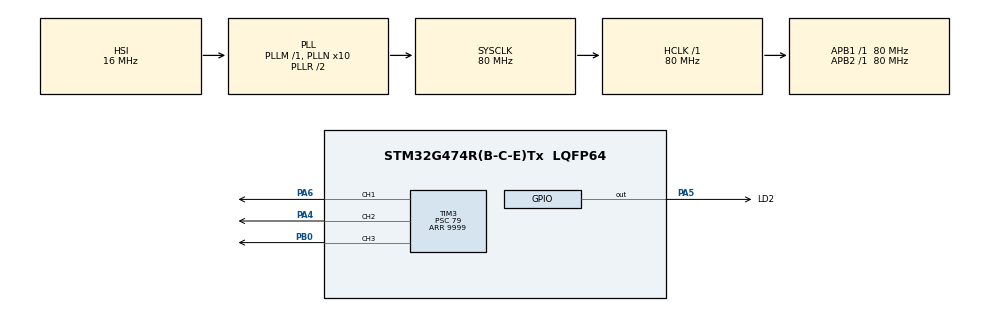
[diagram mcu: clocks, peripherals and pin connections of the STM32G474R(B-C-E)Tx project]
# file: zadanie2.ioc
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Mcu.Family=STM32G4
Mcu.Name=STM32G474R(B-C-E)Tx
Mcu.Package=LQFP64
NVIC.PriorityGroup=NVIC_PRIORITYGROUP_4
NVIC.TIM3_IRQn=true\:10\:0\:true\:false\:true\:true\:true\:true
PA13.Mode=Serial_Wire
PA13.Signal=SYS_JTMS-SWDIO
PA14.Mode=Serial_Wire
PA14.Signal=SYS_JTCK-SWCLK
PA4.Signal=S_TIM3_CH2
PA5.GPIO_Label=LD2
PA5.Signal=GPIO_Output
PA6.Signal=S_TIM3_CH1
PB0.Signal=S_TIM3_CH3
ProjectManager.HeapSize=0x200
ProjectManager.StackSize=0x400
ProjectManager.TargetToolchain=STM32CubeIDE
RCC.ADC12Freq_Value=80000000
RCC.ADC345Freq_Value=80000000
RCC.AHBFreq_Value=80000000
RCC.APB1Freq_Value=80000000
RCC.APB1TimFreq_Value=80000000
RCC.APB2Freq_Value=80000000
RCC.APB2TimFreq_Value=80000000
RCC.CortexFreq_Value=80000000
RCC.EXTERNAL_CLOCK_VALUE=12288000
RCC.HCLKFreq_Value=80000000
RCC.HSE_VALUE=8000000
RCC.HSI48_VALUE=48000000
RCC.HSI_VALUE=16000000
RCC.LSE_VALUE=32768
RCC.PLLN=10
RCC.SYSCLKFreq_VALUE=80000000
RCC.SYSCLKSource=RCC_SYSCLKSOURCE_PLLCLK
RCC.USBFreq_Value=80000000
RCC.VCOOutputFreq_Value=160000000
SH.S_TIM3_CH1.0=TIM3_CH1,PWM Generation1 CH1
SH.S_TIM3_CH2.0=TIM3_CH2,PWM Generation2 CH2
SH.S_TIM3_CH3.0=TIM3_CH3,PWM Generation3 CH3
TIM3.Channel-PWM\ Generation1\ CH1=TIM_CHANNEL_1
TIM3.Channel-PWM\ Generation2\ CH2=TIM_CHANNEL_2
TIM3.Channel-PWM\ Generation3\ CH3=TIM_CHANNEL_3
TIM3.OCPolarity_1=TIM_OCPOLARITY_LOW
TIM3.OCPolarity_2=TIM_OCPOLARITY_LOW
TIM3.OCPolarity_3=TIM_OCPOLARITY_LOW
TIM3.PeriodNoDither=9999
TIM3.Prescaler=79
TIM3.PulseNoDither_1=50
TIM3.PulseNoDither_2=400
TIM3.PulseNoDither_3=2000
VP_TIM3_VS_ClockSourceINT.Mode=Internal
board=custom

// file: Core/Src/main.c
/* USER CODE BEGIN Header */
/**
  ******************************************************************************
  * @file           : main.c
  * @brief          : Main program body
  ******************************************************************************
  * @attention
  *
  * Copyright (c) 2023 STMicroelectronics.
  * All rights reserved.
  *
  * This software is licensed under terms that can be found in the LICENSE file
  * in the root directory of this software component.
  * If no LICENSE file comes with this software, it is provided AS-IS.
  *
  ******************************************************************************
  */
/* USER CODE END Header */
#include "main.h"

/* USER CODE BEGIN Includes */
#include <math.h>
/* USER CODE END Includes */

TIM_HandleTypeDef htim3;

void SystemClock_Config(void);
static void MX_GPIO_Init(void);
static void MX_TIM3_Init(void);

/* USER CODE BEGIN 0 */
float calc_pwm(float val)						//Linearyzacja dzialania ukladu
{
    const float k = 0.13f;
    const float x0 = 70.0f;
    return 10000.0f / (1.0f + exp(-k * (val - x0)));
}
void HAL_TIM_PeriodElapsedCallback(TIM_HandleTypeDef *htim) 		//Obsluga przerwan
{
  if (htim == &htim3) {
    HAL_GPIO_TogglePin(LD2_GPIO_Port, LD2_Pin);
  }
}
/* USER CODE END 0 */

int main(void)
{

  /* MCU Configuration--------------------------------------------------------*/

  /* Reset of all peripherals, Initializes the Flash interface and the Systick. */
  HAL_Init();

  /* Configure the system clock */
  SystemClock_Config();

  /* Initialize all configured peripherals */
  MX_GPIO_Init();
  MX_TIM3_Init();
  /* USER CODE BEGIN 2 */
  HAL_TIM_Base_Start_IT(&htim3);
  HAL_TIM_PWM_Start(&htim3, TIM_CHANNEL_1);
  HAL_TIM_PWM_Start(&htim3, TIM_CHANNEL_2);
  HAL_TIM_PWM_Start(&htim3, TIM_CHANNEL_3);
  /* USER CODE END 2 */

  /* Infinite loop */
  /* USER CODE BEGIN WHILE */
  int counter = 0;
  uint32_t last_ms = HAL_GetTick();							//Pobranie czasu pracy mikrokontrolera

  while (1)
  {
	  uint32_t now = HAL_GetTick();
	  if (now - last_ms >= 2000)
	  {
		  float r = 500 * (sin(counter / 31.8f));				//Wykres sinusoidalny
	  	  float g = 500 * (counter / 200.0f - floor(counter / 200.0f));		//Wykres w ksztalcie pily
	  	  float b = 500 * (2.0 * fabs(fmod(counter * 0.005, 1.0) - 0.5));	//Wykres w ksztalcie trojkata

	  	  __HAL_TIM_SET_COMPARE(&htim3, TIM_CHANNEL_1, calc_pwm(r));		//Zmiana wartosci parametru Pulse
	  	  __HAL_TIM_SET_COMPARE(&htim3, TIM_CHANNEL_2, calc_pwm(g));
	  	  __HAL_TIM_SET_COMPARE(&htim3, TIM_CHANNEL_3, calc_pwm(b));

	  	  counter++;
    /* USER CODE END WHILE */

	  }
  }
}

void SystemClock_Config(void)
{
  RCC_OscInitTypeDef RCC_OscInitStruct = {0};
  RCC_ClkInitTypeDef RCC_ClkInitStruct = {0};

  /** Configure the main internal regulator output voltage
  */
  HAL_PWREx_ControlVoltageScaling(PWR_REGULATOR_VOLTAGE_SCALE1);

  /** Initializes the RCC Oscillators according to the specified parameters
  * in the RCC_OscInitTypeDef structure.
  */
  RCC_OscInitStruct.OscillatorType = RCC_OSCILLATORTYPE_HSI;
  RCC_OscInitStruct.HSIState = RCC_HSI_ON;
  RCC_OscInitStruct.HSICalibrationValue = RCC_HSICALIBRATION_DEFAULT;
  RCC_OscInitStruct.PLL.PLLState = RCC_PLL_ON;
  RCC_OscInitStruct.PLL.PLLSource = RCC_PLLSOURCE_HSI;
  RCC_OscInitStruct.PLL.PLLM = RCC_PLLM_DIV1;
  RCC_OscInitStruct.PLL.PLLN = 10;
  RCC_OscInitStruct.PLL.PLLP = RCC_PLLP_DIV2;
  RCC_OscInitStruct.PLL.PLLQ = RCC_PLLQ_DIV2;
  RCC_OscInitStruct.PLL.PLLR = RCC_PLLR_DIV2;
  if (HAL_RCC_OscConfig(&RCC_OscInitStruct) != HAL_OK)
  {
    Error_Handler();
  }

  /** Initializes the CPU, AHB and APB buses clocks
  */
  RCC_ClkInitStruct.ClockType = RCC_CLOCKTYPE_HCLK|RCC_CLOCKTYPE_SYSCLK
                              |RCC_CLOCKTYPE_PCLK1|RCC_CLOCKTYPE_PCLK2;
  RCC_ClkInitStruct.SYSCLKSource = RCC_SYSCLKSOURCE_PLLCLK;
  RCC_ClkInitStruct.AHBCLKDivider = RCC_SYSCLK_DIV1;
  RCC_ClkInitStruct.APB1CLKDivider = RCC_HCLK_DIV1;
  RCC_ClkInitStruct.APB2CLKDivider = RCC_HCLK_DIV1;

  if (HAL_RCC_ClockConfig(&RCC_ClkInitStruct, FLASH_LATENCY_2) != HAL_OK)
  {
    Error_Handler();
  }
}

static void MX_TIM3_Init(void)
{

  TIM_ClockConfigTypeDef sClockSourceConfig = {0};
  TIM_MasterConfigTypeDef sMasterConfig = {0};
  TIM_OC_InitTypeDef sConfigOC = {0};

  htim3.Instance = TIM3;
  htim3.Init.Prescaler = 79;
  htim3.Init.CounterMode = TIM_COUNTERMODE_UP;
  htim3.Init.Period = 9999;
  htim3.Init.ClockDivision = TIM_CLOCKDIVISION_DIV1;
  htim3.Init.AutoReloadPreload = TIM_AUTORELOAD_PRELOAD_DISABLE;
  if (HAL_TIM_Base_Init(&htim3) != HAL_OK)
  {
    Error_Handler();
  }
  sClockSourceConfig.ClockSource = TIM_CLOCKSOURCE_INTERNAL;
  if (HAL_TIM_ConfigClockSource(&htim3, &sClockSourceConfig) != HAL_OK)
  {
    Error_Handler();
  }
  if (HAL_TIM_PWM_Init(&htim3) != HAL_OK)
  {
    Error_Handler();
  }
  sMasterConfig.MasterOutputTrigger = TIM_TRGO_RESET;
  sMasterConfig.MasterSlaveMode = TIM_MASTERSLAVEMODE_DISABLE;
  if (HAL_TIMEx_MasterConfigSynchronization(&htim3, &sMasterConfig) != HAL_OK)
  {
    Error_Handler();
  }
  sConfigOC.OCMode = TIM_OCMODE_PWM1;
  sConfigOC.Pulse = 50;
  sConfigOC.OCPolarity = TIM_OCPOLARITY_LOW;
  sConfigOC.OCFastMode = TIM_OCFAST_DISABLE;
  if (HAL_TIM_PWM_ConfigChannel(&htim3, &sConfigOC, TIM_CHANNEL_1) != HAL_OK)
  {
    Error_Handler();
  }
  sConfigOC.Pulse = 400;
  if (HAL_TIM_PWM_ConfigChannel(&htim3, &sConfigOC, TIM_CHANNEL_2) != HAL_OK)
  {
    Error_Handler();
  }
  sConfigOC.Pulse = 2000;
  if (HAL_TIM_PWM_ConfigChannel(&htim3, &sConfigOC, TIM_CHANNEL_3) != HAL_OK)
  {
    Error_Handler();
  }
  HAL_TIM_MspPostInit(&htim3);

}

static void MX_GPIO_Init(void)
{
  GPIO_InitTypeDef GPIO_InitStruct = {0};

  /* GPIO Ports Clock Enable */
  __HAL_RCC_GPIOA_CLK_ENABLE();
  __HAL_RCC_GPIOB_CLK_ENABLE();

  /*Configure GPIO pin Output Level */
  HAL_GPIO_WritePin(LD2_GPIO_Port, LD2_Pin, GPIO_PIN_RESET);

  /*Configure GPIO pin : LD2_Pin */
  GPIO_InitStruct.Pin = LD2_Pin;
  GPIO_InitStruct.Mode = GPIO_MODE_OUTPUT_PP;
  GPIO_InitStruct.Pull = GPIO_NOPULL;
  GPIO_InitStruct.Speed = GPIO_SPEED_FREQ_LOW;
  HAL_GPIO_Init(LD2_GPIO_Port, &GPIO_InitStruct);

}

void Error_Handler(void)
{
  __disable_irq();
  while (1)
  {
  }
}
